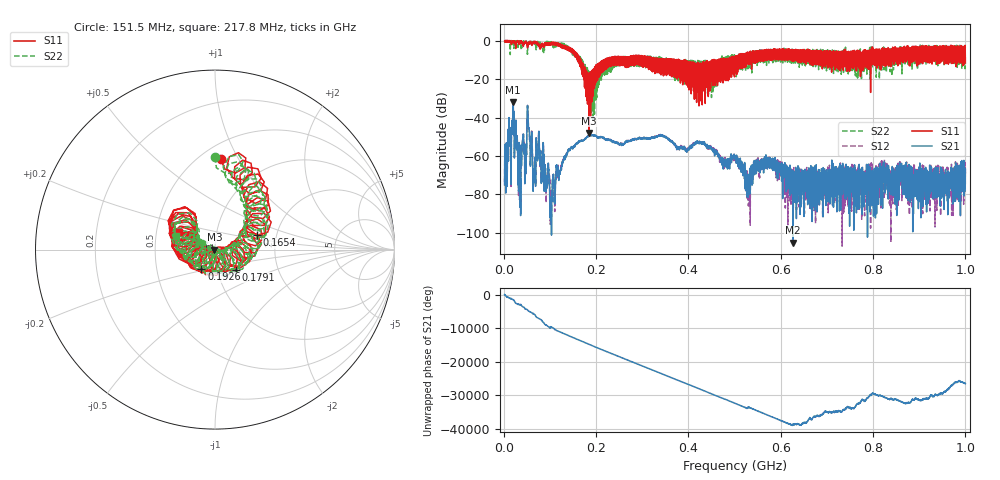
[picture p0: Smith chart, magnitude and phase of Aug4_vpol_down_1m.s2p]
!Keysight Technologies N9923A: A.12.45
!Date: Tuesday, 05 August 2025 20:13:45
!Timezone: (UTC+08:00) Kuala Lumpur, Singapore
!Model: N9923A
!Serial: MY61181427
!GPS Latitude:
!GPS Longitude:
!GPS TimeStamp: 0001-01-01 00:00:00Z
!GPS Seconds Since Last Read: 0
!CHECKSUM:1102293437
!Correction: S11(ON U)S21(ON U)S12(ON U)S22(ON U)
!S2P File: Measurements:S11,S21,S12,S22:
# Hz S DB R 50
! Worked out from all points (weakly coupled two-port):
!   4001 points, 2 MHz to 1 GHz, reference 50 ohm
!   highest |S21| = -31.95 dB at 20.71 MHz (marker M1); lowest = -105.2 dB at 626.5 MHz (marker M2)
!   lowest |S11| = -48.0 dB at 184.9 MHz (marker M3), VSWR 1.01, Z = 49.6 - j0.113 ohm
!   |S11| at or under -10 dB: 166.3 MHz to 215.6 MHz (49.27 MHz wide, 25.8 % of centre); 380.3 MHz to 391.9 MHz (11.62 MHz wide, 3.01 % of centre); 392 MHz to 452.3 MHz (60.25 MHz wide, 14.3 % of centre)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
!   |S22| runs from -41.8 to 0.1 dB; largest |S21 - S12| = 0.001
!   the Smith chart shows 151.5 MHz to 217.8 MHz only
!   S11 on the Smith chart (normalised r, x): 151.5 MHz: 0.62, +0.85; 165.4 MHz: 1.58, +0.27; 179.1 MHz: 1.23, -0.28; 192.6 MHz: 0.84, -0.19; 217.8 MHz: 0.65, +0.14
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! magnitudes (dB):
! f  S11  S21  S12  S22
! 2 MHz  -0.1  -75.1  -73.8  -0.1
! 20.71 MHz  -0.8  -32.0  -31.8  -2.8
! 34.68 MHz  -1.0  -78.2  -79.4  -0.6
! 55.39 MHz  -0.8  -46.8  -46.8  -0.3
! 64.62 MHz  -1.5  -70.9  -71.3  -1.3
! 75.1 MHz  -2.2  -53.8  -53.7  -1.8
! 104.8 MHz  -1.9  -83.5  -78.2  -1.9
! 151.5 MHz  -5.9  -55.1  -55.3  -5.7
! 165.4 MHz  -12.1  -52.3  -52.3  -11.9
! 168.4 MHz  -15.2  -52.2  -52.2  -12.8
! 179.1 MHz  -15.8  -50.5  -50.5  -14.9
! 184.9 MHz  -48.0  -49.7  -50.0  -20.1
! 192.6 MHz  -17.5  -49.2  -49.4  -16.9
! 217.8 MHz  -12.9  -51.0  -50.8  -12.8
! 334.8 MHz  -9.3  -49.7  -49.6  -10.0
! 501 MHz  -8.2  -60.6  -59.9  -8.5
! 529.2 MHz  -6.5  -78.7  -74.9  -12.7
! 569.9 MHz  -4.5  -65.2  -64.9  -6.9
! 626.5 MHz  -7.3  -105.2  -80.8  -11.4
! 667.4 MHz  -5.2  -85.3  -79.4  -7.4
! 833.8 MHz  -6.0  -78.7  -71.2  -13.0
! 1 GHz  -11.4  -67.0  -69.4  -3.8
